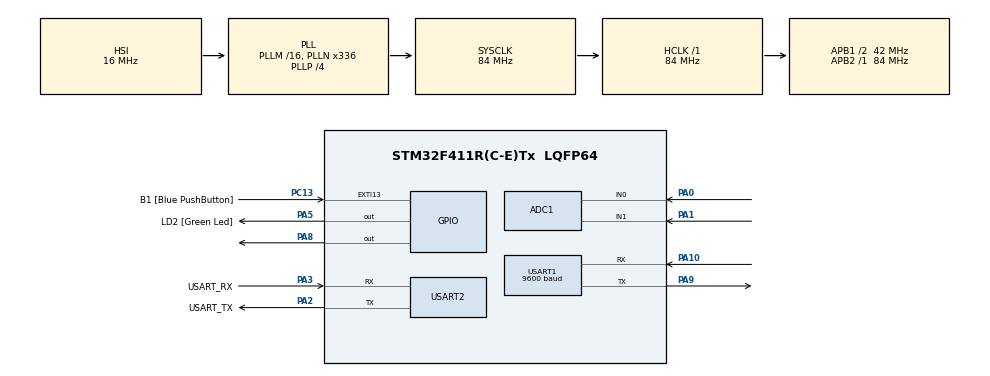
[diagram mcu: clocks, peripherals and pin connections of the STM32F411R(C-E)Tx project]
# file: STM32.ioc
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ADC1.Channel-1\#ChannelRegularConversion=ADC_CHANNEL_0
ADC1.Channel-2\#ChannelRegularConversion=ADC_CHANNEL_1
ADC1.ContinuousConvMode=ENABLE
ADC1.NbrOfConversion=2
ADC1.NbrOfConversionFlag=1
ADC1.Rank-1\#ChannelRegularConversion=1
ADC1.Rank-2\#ChannelRegularConversion=2
ADC1.SamplingTime-1\#ChannelRegularConversion=ADC_SAMPLETIME_3CYCLES
ADC1.SamplingTime-2\#ChannelRegularConversion=ADC_SAMPLETIME_3CYCLES
ADC1.ScanConvMode=ENABLE
ADC1.master=1
Mcu.Family=STM32F4
Mcu.Name=STM32F411R(C-E)Tx
Mcu.Package=LQFP64
NVIC.PriorityGroup=NVIC_PRIORITYGROUP_0
NVIC.USART1_IRQn=true\:0\:0\:false\:false\:true\:true\:true\:true
PA0-WKUP.Signal=ADCx_IN0
PA1.Signal=ADCx_IN1
PA10.Mode=Asynchronous
PA10.Signal=USART1_RX
PA13.GPIO_Label=TMS
PA13.Mode=Serial_Wire
PA13.Signal=SYS_JTMS-SWDIO
PA14.GPIO_Label=TCK
PA14.Mode=Serial_Wire
PA14.Signal=SYS_JTCK-SWCLK
PA2.GPIO_Label=USART_TX
PA2.Mode=Asynchronous
PA2.Signal=USART2_TX
PA3.GPIO_Label=USART_RX
PA3.Mode=Asynchronous
PA3.Signal=USART2_RX
PA5.GPIO_Label=LD2 [Green Led]
PA5.Signal=GPIO_Output
PA8.Signal=GPIO_Output
PA9.Mode=Asynchronous
PA9.Signal=USART1_TX
PB3.GPIO_Label=SWO
PB3.Signal=SYS_JTDO-SWO
PC13-ANTI_TAMP.GPIO_Label=B1 [Blue PushButton]
PC13-ANTI_TAMP.GPIO_ModeDefaultEXTI=GPIO_MODE_IT_FALLING
PC13-ANTI_TAMP.Signal=GPXTI13
PC14-OSC32_IN.Mode=LSE-External-Oscillator
PC14-OSC32_IN.Signal=RCC_OSC32_IN
PC15-OSC32_OUT.Mode=LSE-External-Oscillator
PC15-OSC32_OUT.Signal=RCC_OSC32_OUT
PH0\ -\ OSC_IN.Mode=HSE-External-Clock-Source
PH0\ -\ OSC_IN.Signal=RCC_OSC_IN
PH1\ -\ OSC_OUT.Mode=HSE-External-Clock-Source
PH1\ -\ OSC_OUT.Signal=RCC_OSC_OUT
ProjectManager.HeapSize=0x200
ProjectManager.StackSize=0x400
ProjectManager.TargetToolchain=STM32CubeIDE
RCC.48MHZClocksFreq_Value=84000000
RCC.AHBFreq_Value=84000000
RCC.APB1CLKDivider=RCC_HCLK_DIV2
RCC.APB1Freq_Value=42000000
RCC.APB1TimFreq_Value=84000000
RCC.APB2Freq_Value=84000000
RCC.APB2TimFreq_Value=84000000
RCC.CortexFreq_Value=84000000
RCC.FLatency-AdvancedSettings=FLASH_LATENCY_2
RCC.HCLKFreq_Value=84000000
RCC.HSE_VALUE=8000000
RCC.HSI_VALUE=16000000
RCC.PLLN=336
RCC.PLLP=RCC_PLLP_DIV4
RCC.SYSCLKFreq_VALUE=84000000
RCC.SYSCLKSource=RCC_SYSCLKSOURCE_PLLCLK
RCC.VCOOutputFreq_Value=336000000
SH.ADCx_IN0.0=ADC1_IN0,IN0
SH.ADCx_IN1.0=ADC1_IN1,IN1
TIM1.Period=4095
TIM1.Prescaler=71
USART1.BaudRate=9600
USART1.VirtualMode=VM_ASYNC
USART1.WordLength=WORDLENGTH_8B
USART2.VirtualMode=VM_ASYNC
VP_TIM1_VS_ClockSourceINT.Mode=Internal
board=NUCLEO-F411RE

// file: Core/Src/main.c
/* USER CODE BEGIN Header */
/**
 ******************************************************************************
 * @file           : main.c
 * @brief          : Main program body
 ******************************************************************************
 * @attention
 *
 * Copyright (c) 2023 STMicroelectronics.
 * All rights reserved.
 *
 * This software is licensed under terms that can be found in the LICENSE file
 * in the root directory of this software component.
 * If no LICENSE file comes with this software, it is provided AS-IS.
 *
 ******************************************************************************
 */
/* USER CODE END Header */
#include "main.h"

/* USER CODE BEGIN Includes */
#include <string.h>

/* USER CODE END Includes */

ADC_HandleTypeDef hadc1;

TIM_HandleTypeDef htim1;

UART_HandleTypeDef huart1;
UART_HandleTypeDef huart2;

void SystemClock_Config(void);
static void MX_GPIO_Init(void);
static void MX_USART2_UART_Init(void);
static void MX_ADC1_Init(void);
static void MX_TIM1_Init(void);
static void MX_USART1_UART_Init(void);

/* USER CODE BEGIN 0 */
#define DHT11_PORT GPIOB
#define DHT11_PIN GPIO_PIN_5

#define MAX_ADC_READING 4095
#define ADC_REF_VOLTAGE 5
#define REF_RESISTANCE

float SOIL_HUMID, LIGHT;
int RAW_LDR_ADC = 0;
int RAW_SOIL_ADC = 0;

uint8_t RHI, RHD, TCI, TCD, SUM;
uint32_t pMillis, cMillis;
uint8_t tCelsius = 0;
float tFahrenheit = 0;
uint8_t RH = 0;
uint8_t state =0;

char Rx_data[] = "0";
char CLR[] = "";

void microDelay(uint16_t delay) {
	__HAL_TIM_SET_COUNTER(&htim1, 0);
	int counter = 0;
	while (counter < delay) {
		counter = __HAL_TIM_GET_COUNTER(&htim1);
	}
}

void milliDelay(uint16_t delay) {
	for (int i = 0; i < delay; i++) {
		microDelay(1000);
	}
}

void SET_ADC_READING_SOIL() {
	ADC_ChannelConfTypeDef sConfig = { 0 };

	sConfig.Channel = ADC_CHANNEL_0;
	sConfig.Rank = 1;
	sConfig.SamplingTime = ADC_SAMPLETIME_3CYCLES;
	if (HAL_ADC_ConfigChannel(&hadc1, &sConfig) != HAL_OK) {
		Error_Handler();
	}
}

void SET_ADC_READING_LIGHT() {
	ADC_ChannelConfTypeDef sConfig = { 0 };

	sConfig.Channel = ADC_CHANNEL_1;
	sConfig.Rank = 1;
	sConfig.SamplingTime = ADC_SAMPLETIME_3CYCLES;
	if (HAL_ADC_ConfigChannel(&hadc1, &sConfig) != HAL_OK) {
		Error_Handler();
	}
}

uint8_t DHT11_Start(void) {
	uint8_t Response = 0;
	GPIO_InitTypeDef GPIO_InitStructPrivate = { 0 };
	GPIO_InitStructPrivate.Pin = DHT11_PIN;
	GPIO_InitStructPrivate.Mode = GPIO_MODE_OUTPUT_PP;
	GPIO_InitStructPrivate.Pull = GPIO_NOPULL;
	GPIO_InitStructPrivate.Speed = GPIO_SPEED_FREQ_LOW;
	HAL_GPIO_Init(DHT11_PORT, &GPIO_InitStructPrivate); // set the pin as output
	HAL_GPIO_WritePin(DHT11_PORT, DHT11_PIN, 0);   // pull the pin low
	HAL_Delay(20);   // wait for 20ms
	HAL_GPIO_WritePin(DHT11_PORT, DHT11_PIN, 1);   // pull the pin high

	microDelay(30);   // wait for 30us

	GPIO_InitStructPrivate.Mode = GPIO_MODE_INPUT;
	GPIO_InitStructPrivate.Pull = GPIO_PULLUP;
	HAL_GPIO_Init(DHT11_PORT, &GPIO_InitStructPrivate); // set the pin as input
	microDelay(40);
	if (!(HAL_GPIO_ReadPin(DHT11_PORT, DHT11_PIN))) {
		microDelay(80);
		if ((HAL_GPIO_ReadPin(DHT11_PORT, DHT11_PIN)))
			Response = 1;
	}
	pMillis = HAL_GetTick();
	cMillis = HAL_GetTick();
	while ((HAL_GPIO_ReadPin(DHT11_PORT, DHT11_PIN)) && pMillis + 2 > cMillis) {
		cMillis = HAL_GetTick();
	}
	return Response;
}

uint8_t DHT11_Read(void) {
	uint8_t a, b;
	for (a = 0; a < 8; a++) {
		pMillis = HAL_GetTick();
		cMillis = HAL_GetTick();
		while (!(HAL_GPIO_ReadPin(DHT11_PORT, DHT11_PIN))
				&& pMillis + 2 > cMillis) {  // wait for the pin to go high
			cMillis = HAL_GetTick();
		}
		microDelay(40);   // wait for 40 us
		if (!(HAL_GPIO_ReadPin(DHT11_PORT, DHT11_PIN)))   // if the pin is low
			b &= ~(1 << (7 - a));
		else
			b |= (1 << (7 - a));
		pMillis = HAL_GetTick();
		cMillis = HAL_GetTick();
		while ((HAL_GPIO_ReadPin(DHT11_PORT, DHT11_PIN))
				&& pMillis + 2 > cMillis) {  // wait for the pin to go low
			cMillis = HAL_GetTick();
		}
	}
	return b;
}
/* USER CODE END 0 */

int main(void) {

	/* MCU Configuration--------------------------------------------------------*/

	/* Reset of all peripherals, Initializes the Flash interface and the Systick. */
	HAL_Init();

	/* Configure the system clock */
	SystemClock_Config();

	/* Initialize all configured peripherals */
	MX_GPIO_Init();
	MX_USART2_UART_Init();
	MX_ADC1_Init();
	MX_TIM1_Init();
	MX_USART1_UART_Init();
	/* USER CODE BEGIN 2 */
	HAL_TIM_Base_Start(&htim1);
	HAL_UART_Receive_IT(&huart1, Rx_data, 1);
	/* USER CODE END 2 */

	/* Infinite loop */
	while (1) {

		/* USER CODE BEGIN 3 */

		// Reading Soil Moisture
		SET_ADC_READING_SOIL();
		HAL_ADC_Start(&hadc1);
		if (HAL_ADC_PollForConversion(&hadc1, 1000) == HAL_OK) {
			RAW_SOIL_ADC = HAL_ADC_GetValue(&hadc1);
			SOIL_HUMID = (float) (-0.0503 * RAW_SOIL_ADC) + 205.98;

			if (SOIL_HUMID > 100) {
				SOIL_HUMID = 100.0;
			}
		}
		HAL_ADC_Stop(&hadc1);

		// Reading LDR
		SET_ADC_READING_LIGHT();
		HAL_ADC_Start(&hadc1);
		if (HAL_ADC_PollForConversion(&hadc1, 1000) == HAL_OK) {
//			int ldrRawData = HAL_ADC_GetValue(&hadc1);
//			float resistorVoltage = (float)ldrRawData / MAX_ADC_READING * ADC_REF_VOLTAGE;
//			float ldrVoltage = ADC_REF_VOLTAGE - resistorVoltage;
//			float ldrResistance = ldrVoltage/resistorVoltage * REF_RESISTANCE;
//			ldrLux = LUX_CALC_SCALAR * pow(ldrResistance, LUX_CALC_EXPONENT);
			RAW_LDR_ADC = HAL_ADC_GetValue(&hadc1);
			LIGHT = (float) (406535.0 / RAW_LDR_ADC) - 308.5;
			if (LIGHT < 0.0) {
				LIGHT = 0.0;
			}
		}
		HAL_ADC_Stop(&hadc1);

		if (DHT11_Start() || 1) {
			RHI = DHT11_Read(); // Relative humidity integral
			RHD = DHT11_Read(); // Relative humidity decimal
			TCI = DHT11_Read(); // Celsius integral
			TCD = DHT11_Read(); // Celsius decimal
			SUM = DHT11_Read(); // Check sum
			if (RHI + RHD + TCI + TCD == SUM) {
				// Can use RHI and TCI for any purposes if whole number only needed
				tCelsius = (uint8_t) TCI + (uint8_t) (TCD / 10.0);
				tFahrenheit = tCelsius * 9 / 5 + 32;
				RH = (uint8_t) RHI + (uint8_t) (RHD / 10.0);
				// Can use tCelsius, tFahrenheit and RH for any purposes
			}
		}

//		char out[80] = "";
//		sprintf(out, "[%u,%u,%.2f,%.2f]\n\r", tCelsius, RH, SOIL_HUMID, RAW_SOIL_ADC, LIGHT, RAW_LDR_ADC);
//
//		HAL_UART_Transmit(&huart1, out, strlen(out), 100);
//		HAL_UART_Transmit(&huart2, out, strlen(out), 100);
		HAL_Delay(1000);
	}
	/* USER CODE END 3 */
}

void SystemClock_Config(void) {
	RCC_OscInitTypeDef RCC_OscInitStruct = { 0 };
	RCC_ClkInitTypeDef RCC_ClkInitStruct = { 0 };

	/** Configure the main internal regulator output voltage
	 */
	__HAL_RCC_PWR_CLK_ENABLE();
	__HAL_PWR_VOLTAGESCALING_CONFIG(PWR_REGULATOR_VOLTAGE_SCALE1);

	/** Initializes the RCC Oscillators according to the specified parameters
	 * in the RCC_OscInitTypeDef structure.
	 */
	RCC_OscInitStruct.OscillatorType = RCC_OSCILLATORTYPE_HSI;
	RCC_OscInitStruct.HSIState = RCC_HSI_ON;
	RCC_OscInitStruct.HSICalibrationValue = RCC_HSICALIBRATION_DEFAULT;
	RCC_OscInitStruct.PLL.PLLState = RCC_PLL_ON;
	RCC_OscInitStruct.PLL.PLLSource = RCC_PLLSOURCE_HSI;
	RCC_OscInitStruct.PLL.PLLM = 16;
	RCC_OscInitStruct.PLL.PLLN = 336;
	RCC_OscInitStruct.PLL.PLLP = RCC_PLLP_DIV4;
	RCC_OscInitStruct.PLL.PLLQ = 4;
	if (HAL_RCC_OscConfig(&RCC_OscInitStruct) != HAL_OK) {
		Error_Handler();
	}

	/** Initializes the CPU, AHB and APB buses clocks
	 */
	RCC_ClkInitStruct.ClockType = RCC_CLOCKTYPE_HCLK | RCC_CLOCKTYPE_SYSCLK
			| RCC_CLOCKTYPE_PCLK1 | RCC_CLOCKTYPE_PCLK2;
	RCC_ClkInitStruct.SYSCLKSource = RCC_SYSCLKSOURCE_PLLCLK;
	RCC_ClkInitStruct.AHBCLKDivider = RCC_SYSCLK_DIV1;
	RCC_ClkInitStruct.APB1CLKDivider = RCC_HCLK_DIV2;
	RCC_ClkInitStruct.APB2CLKDivider = RCC_HCLK_DIV1;

	if (HAL_RCC_ClockConfig(&RCC_ClkInitStruct, FLASH_LATENCY_2) != HAL_OK) {
		Error_Handler();
	}
}

static void MX_ADC1_Init(void) {

	ADC_ChannelConfTypeDef sConfig = { 0 };

	/** Configure the global features of the ADC (Clock, Resolution, Data Alignment and number of conversion)
	 */
	hadc1.Instance = ADC1;
	hadc1.Init.ClockPrescaler = ADC_CLOCK_SYNC_PCLK_DIV4;
	hadc1.Init.Resolution = ADC_RESOLUTION_12B;
	hadc1.Init.ScanConvMode = ENABLE;
	hadc1.Init.ContinuousConvMode = ENABLE;
	hadc1.Init.DiscontinuousConvMode = DISABLE;
	hadc1.Init.ExternalTrigConvEdge = ADC_EXTERNALTRIGCONVEDGE_NONE;
	hadc1.Init.ExternalTrigConv = ADC_SOFTWARE_START;
	hadc1.Init.DataAlign = ADC_DATAALIGN_RIGHT;
	hadc1.Init.NbrOfConversion = 1;
	hadc1.Init.DMAContinuousRequests = DISABLE;
	hadc1.Init.EOCSelection = ADC_EOC_SINGLE_CONV;
	if (HAL_ADC_Init(&hadc1) != HAL_OK) {
		Error_Handler();
	}

}

static void MX_TIM1_Init(void) {

	TIM_ClockConfigTypeDef sClockSourceConfig = { 0 };
	TIM_MasterConfigTypeDef sMasterConfig = { 0 };

	htim1.Instance = TIM1;
	htim1.Init.Prescaler = 71;
	htim1.Init.CounterMode = TIM_COUNTERMODE_UP;
	htim1.Init.Period = 4095;
	htim1.Init.ClockDivision = TIM_CLOCKDIVISION_DIV1;
	htim1.Init.RepetitionCounter = 0;
	htim1.Init.AutoReloadPreload = TIM_AUTORELOAD_PRELOAD_DISABLE;
	if (HAL_TIM_Base_Init(&htim1) != HAL_OK) {
		Error_Handler();
	}
	sClockSourceConfig.ClockSource = TIM_CLOCKSOURCE_INTERNAL;
	if (HAL_TIM_ConfigClockSource(&htim1, &sClockSourceConfig) != HAL_OK) {
		Error_Handler();
	}
	sMasterConfig.MasterOutputTrigger = TIM_TRGO_RESET;
	sMasterConfig.MasterSlaveMode = TIM_MASTERSLAVEMODE_DISABLE;
	if (HAL_TIMEx_MasterConfigSynchronization(&htim1, &sMasterConfig)
			!= HAL_OK) {
		Error_Handler();
	}

}

static void MX_USART1_UART_Init(void) {

	huart1.Instance = USART1;
	huart1.Init.BaudRate = 9600;
	huart1.Init.WordLength = UART_WORDLENGTH_8B;
	huart1.Init.StopBits = UART_STOPBITS_1;
	huart1.Init.Parity = UART_PARITY_NONE;
	huart1.Init.Mode = UART_MODE_TX_RX;
	huart1.Init.HwFlowCtl = UART_HWCONTROL_NONE;
	huart1.Init.OverSampling = UART_OVERSAMPLING_16;
	if (HAL_UART_Init(&huart1) != HAL_OK) {
		Error_Handler();
	}

}

static void MX_USART2_UART_Init(void) {

	huart2.Instance = USART2;
	huart2.Init.BaudRate = 115200;
	huart2.Init.WordLength = UART_WORDLENGTH_8B;
	huart2.Init.StopBits = UART_STOPBITS_1;
	huart2.Init.Parity = UART_PARITY_NONE;
	huart2.Init.Mode = UART_MODE_TX_RX;
	huart2.Init.HwFlowCtl = UART_HWCONTROL_NONE;
	huart2.Init.OverSampling = UART_OVERSAMPLING_16;
	if (HAL_UART_Init(&huart2) != HAL_OK) {
		Error_Handler();
	}

}

static void MX_GPIO_Init(void) {
	GPIO_InitTypeDef GPIO_InitStruct = { 0 };

	/* GPIO Ports Clock Enable */
	__HAL_RCC_GPIOC_CLK_ENABLE();
	__HAL_RCC_GPIOH_CLK_ENABLE();
	__HAL_RCC_GPIOA_CLK_ENABLE();
	__HAL_RCC_GPIOB_CLK_ENABLE();

	/*Configure GPIO pin Output Level */
	HAL_GPIO_WritePin(GPIOA, LD2_Pin | GPIO_PIN_8, GPIO_PIN_RESET);

	/*Configure GPIO pin : B1_Pin */
	GPIO_InitStruct.Pin = B1_Pin;
	GPIO_InitStruct.Mode = GPIO_MODE_IT_FALLING;
	GPIO_InitStruct.Pull = GPIO_NOPULL;
	HAL_GPIO_Init(B1_GPIO_Port, &GPIO_InitStruct);

	/*Configure GPIO pins : LD2_Pin PA8 */
	GPIO_InitStruct.Pin = LD2_Pin | GPIO_PIN_8;
	GPIO_InitStruct.Mode = GPIO_MODE_OUTPUT_PP;
	GPIO_InitStruct.Pull = GPIO_NOPULL;
	GPIO_InitStruct.Speed = GPIO_SPEED_FREQ_LOW;
	HAL_GPIO_Init(GPIOA, &GPIO_InitStruct);

}

/* USER CODE BEGIN 4 */
void HAL_UART_RxCpltCallback(UART_HandleTypeDef *huart) {
//	HAL_UART_Transmit(&huart2, Rx_data, strlen(Rx_data), 100);
	if (Rx_data[0] == '1') {
		char out[80] = "";
		sprintf(out, "[%u,%u,%.2f,%.2f]\n\r", tCelsius, RH, SOIL_HUMID, LIGHT);

		HAL_UART_Transmit(&huart1, out, strlen(out), 100);
		HAL_UART_Transmit(&huart2, out, strlen(out), 100);
		state = 1;
	} else if (Rx_data[0] == '2' && state == 1) {
		char start[] = "Watering\n\r";
		char finished[] = "Water Success\n\r";
		char returnString[84];
		HAL_UART_Transmit(&huart2, start, strlen(start), 100);
		HAL_GPIO_TogglePin(GPIOA, GPIO_PIN_8);
		milliDelay(3000);
		HAL_GPIO_TogglePin(GPIOA, GPIO_PIN_8);
		HAL_UART_Transmit(&huart2, finished, strlen(finished), 100);
		sprintf(returnString, "water[%u,%u,%.2f,%.2f]\n\r", tCelsius, RH, SOIL_HUMID, LIGHT);
		HAL_UART_Transmit(&huart1, returnString, strlen(returnString), 100);
		state = 0;
	}
	Rx_data[0] = '0';
	HAL_UART_Receive_IT(&huart1, Rx_data, sizeof(Rx_data));
}

/* USER CODE END 4 */

void Error_Handler(void) {
	__disable_irq();
	while (1) {
	}
}
